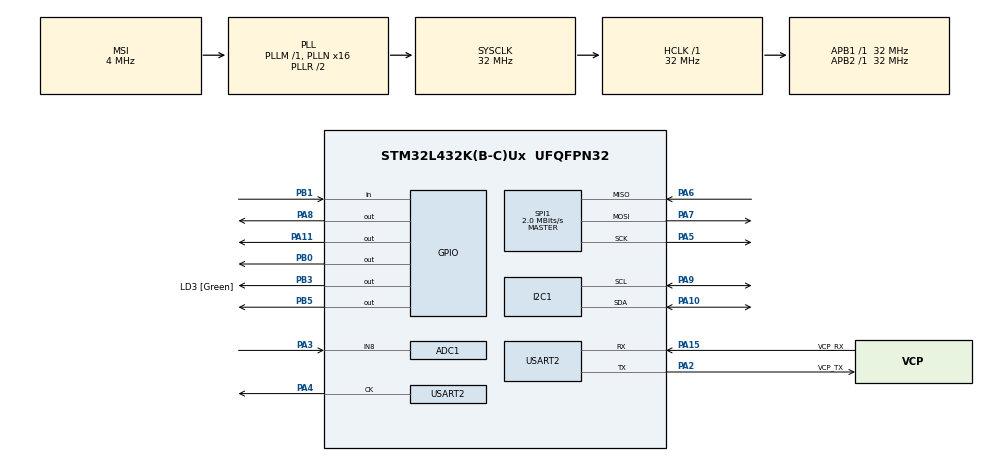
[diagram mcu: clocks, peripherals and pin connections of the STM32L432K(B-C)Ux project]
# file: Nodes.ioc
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ADC1.Channel-0\#ChannelRegularConversion=ADC_CHANNEL_8
ADC1.NbrOfConversionFlag=1
ADC1.OffsetNumber-0\#ChannelRegularConversion=ADC_OFFSET_NONE
ADC1.Rank-0\#ChannelRegularConversion=1
ADC1.SamplingTime-0\#ChannelRegularConversion=ADC_SAMPLETIME_2CYCLES_5
ADC1.master=1
I2C1.Timing=0x00707CBB
Mcu.Family=STM32L4
Mcu.Name=STM32L432K(B-C)Ux
Mcu.Package=UFQFPN32
NVIC.ADC1_IRQn=true\:0\:0\:false\:false\:true\:true\:true\:true
NVIC.I2C1_EV_IRQn=true\:0\:0\:false\:false\:true\:true\:true\:true
NVIC.PriorityGroup=NVIC_PRIORITYGROUP_4
NVIC.SPI1_IRQn=true\:0\:0\:false\:false\:true\:true\:true\:true
NVIC.USART2_IRQn=true\:0\:0\:false\:false\:true\:true\:true\:true
PA0.GPIO_Label=MCO [High speed clock in]
PA0.Mode=HSE-External-Clock-Source-for-LittleOrca
PA0.Signal=RCC_CK_IN
PA10.Mode=I2C
PA10.Signal=I2C1_SDA
PA11.Signal=GPIO_Output
PA13\ (JTMS-SWDIO).GPIO_Label=SWDIO
PA13\ (JTMS-SWDIO).Mode=Serial_Wire
PA13\ (JTMS-SWDIO).Signal=SYS_JTMS-SWDIO
PA14\ (JTCK-SWCLK).GPIO_Label=SWCLK
PA14\ (JTCK-SWCLK).Mode=Serial_Wire
PA14\ (JTCK-SWCLK).Signal=SYS_JTCK-SWCLK
PA15\ (JTDI).GPIO_Label=VCP_RX
PA15\ (JTDI).Mode=Synchronous
PA15\ (JTDI).Signal=USART2_RX
PA2.GPIO_Label=VCP_TX
PA2.Mode=Synchronous
PA2.Signal=USART2_TX
PA3.Signal=ADCx_IN8
PA4.Mode=Synchronous
PA4.Signal=USART2_CK
PA5.Mode=Full_Duplex_Master
PA5.Signal=SPI1_SCK
PA6.Mode=Full_Duplex_Master
PA6.Signal=SPI1_MISO
PA7.Mode=Full_Duplex_Master
PA7.Signal=SPI1_MOSI
PA8.Signal=GPIO_Output
PA9.Mode=I2C
PA9.Signal=I2C1_SCL
PB0.PinState=GPIO_PIN_SET
PB0.Signal=GPIO_Output
PB1.Signal=GPIO_Input
PB3\ (JTDO-TRACESWO).GPIO_Label=LD3 [Green]
PB3\ (JTDO-TRACESWO).Signal=GPIO_Output
PB5.Signal=GPIO_Output
PC14-OSC32_IN\ (PC14).Mode=LSE-External-Oscillator
PC14-OSC32_IN\ (PC14).Signal=RCC_OSC32_IN
PC15-OSC32_OUT\ (PC15).Mode=LSE-External-Oscillator
PC15-OSC32_OUT\ (PC15).Signal=RCC_OSC32_OUT
ProjectManager.HeapSize=0x200
ProjectManager.StackSize=0x400
ProjectManager.TargetToolchain=STM32CubeIDE
RCC.AHBFreq_Value=32000000
RCC.APB1Freq_Value=32000000
RCC.APB1TimFreq_Value=32000000
RCC.APB2Freq_Value=32000000
RCC.APB2TimFreq_Value=32000000
RCC.CortexFreq_Value=32000000
RCC.HCLKFreq_Value=32000000
RCC.HSE_VALUE=8000000
RCC.HSI16_VALUE=16000000
RCC.HSI48_VALUE=48000000
RCC.HSI_VALUE=16000000
RCC.MSI_VALUE=4000000
RCC.PLLMUL=RCC_PLLMUL_4
RCC.PLLN=16
RCC.SYSCLKFreq_VALUE=32000000
RCC.SYSCLKSource=RCC_SYSCLKSOURCE_PLLCLK
RCC.VCOOutputFreq_Value=64000000
SH.ADCx_IN8.0=ADC1_IN8,IN8-Single-Ended
SPI1.BaudRatePrescaler=SPI_BAUDRATEPRESCALER_16
SPI1.CalculateBaudRate=2.0 MBits/s
SPI1.DataSize=SPI_DATASIZE_8BIT
SPI1.Direction=SPI_DIRECTION_2LINES
SPI1.Mode=SPI_MODE_MASTER
SPI1.VirtualType=VM_MASTER
USART2.VirtualMode-Synchronous=VM_SYNC
board=NUCLEO-L432KC

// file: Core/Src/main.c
/* USER CODE BEGIN Header */
/**
  ******************************************************************************
  * @file           : main.c
  * @brief          : Main program body
  *
  * Author: Salman Shuaib
  *
  * Description:
  * This file contains the main program body for a LoRa-enabled environmental
  * monitoring system using BME680 sensor and an MQ3 gas sensor.
  * The program periodically reads environmental data from the sensor,
  * converts it to the appropriate units, and sends the data via LoRa communication.
  * This also implements mesh networking, in which each sensor node can both transmit
  * and receive data. Transmission of data is of the highest priority.
  ******************************************************************************
  * @attention
  *
  * Copyright (c) 2024 STMicroelectronics.
  * All rights reserved.
  *
  * This software is licensed under terms that can be found in the LICENSE file
  * in the root directory of this software component.
  * If no LICENSE file comes with this software, it is provided AS-IS.
  *
  ******************************************************************************
  */
/* USER CODE END Header */
#include "main.h"

/* USER CODE BEGIN Includes */
#include <bme680.h>
#include <stdio.h>
#include <string.h>
#include <stdlib.h>
#include <math.h>
#include "lora_sx1276.h"
#include "power.h"
#include "packets.h"

/* USER CODE END Includes */

/* USER CODE BEGIN PD */
#define DELAY_PERIOD_MS		2000

// Uncomment to assign an address to a node.
//#define ADDRESS				0x02
//#define ADDRESS				0x03
//#define ADDRESS				0x04

/* USER CODE END PD */

ADC_HandleTypeDef hadc1;

I2C_HandleTypeDef hi2c1;

SPI_HandleTypeDef hspi1;

USART_HandleTypeDef husart2;

/* USER CODE BEGIN PV */
struct bme680_dev gas_sensor;
char i2c_reading_buf[100];
char msg[50];
char send_pkt[100];
uint8_t res;
int8_t rslt = BME680_OK;
uint16_t adcVal;
uint16_t ppm;
uint8_t rx_buffer[32];
uint8_t tx_buffer[4];
lora_sx1276 lora;

/* USER CODE END PV */

void SystemClock_Config(void);
static void MX_GPIO_Init(void);
static void MX_USART2_Init(void);
static void MX_ADC1_Init(void);
static void MX_I2C1_Init(void);
static void MX_SPI1_Init(void);

/* USER CODE BEGIN PFP */
// BME680 Forward Declarations
int8_t bme680I2cRead(uint8_t dev_id, uint8_t reg_addr, uint8_t *reg_data, uint16_t len);
int8_t bme680I2cWrite(uint8_t dev_id, uint8_t reg_addr, uint8_t *reg_data, uint16_t len);

/* USER CODE END PFP */

int main(void)
{

  /* MCU Configuration--------------------------------------------------------*/

  /* Reset of all peripherals, Initializes the Flash interface and the Systick. */
  HAL_Init();

  /* Configure the system clock */
  SystemClock_Config();

  /* Initialize all configured peripherals */
  MX_GPIO_Init();
  MX_USART2_Init();
  MX_ADC1_Init();
  MX_I2C1_Init();
  MX_SPI1_Init();
  /* USER CODE BEGIN 2 */

  // Reset LoRa Module
  HAL_GPIO_WritePin(GPIOB, GPIO_PIN_5, GPIO_PIN_RESET);
  HAL_Delay(10);
  HAL_GPIO_WritePin(GPIOB, GPIO_PIN_5, GPIO_PIN_SET);
  HAL_Delay(100);

  // Initialize LoRa
  uint8_t init = lora_init(&lora, &hspi1, GPIOB, GPIO_PIN_0, LORA_BASE_FREQUENCY_US);
  if (init != LORA_OK)
  {} // Initialization failed
  else
  {
	  HAL_GPIO_WritePin(GPIOB, LD3_Pin, GPIO_PIN_SET);
  }

  // Configure the BME680 driver
  gas_sensor.dev_id = BME680_I2C_ADDR_SECONDARY;
  gas_sensor.intf = BME680_I2C_INTF;
  gas_sensor.read = bme680I2cRead;
  gas_sensor.write = bme680I2cWrite;
  gas_sensor.delay_ms = HAL_Delay;
  gas_sensor.amb_temp = 25;

  // Initialize the driver
  if (bme680_init(&gas_sensor) != BME680_OK)
  {
     char bme_msg[] = "BME680 Initialization Error\r\n";
     HAL_USART_Transmit(&husart2,(uint8_t *)bme_msg,strlen(bme_msg), 100);
   }
  else
  {
     char bme_msg[] = "BME680 Initialized and Ready\r\n";
     HAL_USART_Transmit(&husart2,(uint8_t *)bme_msg,strlen(bme_msg), 100);
   }

   // Select desired oversampling rates
  gas_sensor.tph_sett.os_hum = BME680_OS_2X;
  gas_sensor.tph_sett.os_pres = BME680_OS_4X;
  gas_sensor.tph_sett.os_temp = BME680_OS_8X;

   // Set sensor to "always on"
  gas_sensor.power_mode = BME680_FORCED_MODE;

  // Set oversampling settings
  uint8_t required_settings = (BME680_OST_SEL | BME680_OSP_SEL | BME680_OSH_SEL);
  rslt = bme680_set_sensor_settings(required_settings, &gas_sensor);

  // Set sensor mode
  rslt = bme680_set_sensor_mode(&gas_sensor);

  // Query minimum sampling period
  uint16_t min_sampling_period;
  bme680_get_profile_dur(&min_sampling_period, &gas_sensor);

  // Sampling results variable
  struct bme680_field_data data;

  /* USER CODE END 2 */

  /* Infinite loop */
  /* USER CODE BEGIN WHILE */
  while (1)
  {
	  // Set TPL done pin low to supply power to circuit
	  set_done_low();

	  // Set destination address; gateway
	  tx_buffer[0] = 0x01;

	  // Allow BME680 to sample environment
	  HAL_Delay(min_sampling_period);

	  // Query the sample data
	  rslt = bme680_get_sensor_data(&data, &gas_sensor);

	  float temp_val = data.temperature / 100.0f;
	  tx_buffer[3] = (uint8_t)temp_val;	// Convert value to uint8_t for LoRa transmission

	  float rh_val = data.humidity / 1000.0f;
	  tx_buffer[1] = (uint8_t)rh_val;	 // Convert value to uint8_t for LoRa transmission

	  // ADC conversion for MQ3 gas sensor
	  //Set GPIO Pin high
	  HAL_GPIO_WritePin(GPIOA, GPIO_PIN_11, GPIO_PIN_SET);

	  //Get ADC value
	  HAL_ADC_Start(&hadc1);
	  HAL_ADC_PollForConversion(&hadc1, HAL_MAX_DELAY);
	  float analogVal = 0;
	  for (int i = 0; i < 10; i++)
	  {
		  analogVal += HAL_ADC_GetValue(&hadc1);
		  HAL_Delay(10);
	  }

	  // Convert ADC value to ppm
	  // As per datasheet and calibration settings
	  analogVal = analogVal/10.0;
	  float value = analogVal / (5.0*1024.0);
	  float rs_gas = (5.0 - value) / value;
	  float r0 = 7.0944;
	  float ratio = rs_gas / r0;
	  float mgL = (-8.414*log(ratio)) + 31.926;
	  float ppm = ((mgL * 1000 * 24.5) / 28.01) * 0.01;
	  ppm = ppm/10.0;

	  uint8_t smoke_val = (uint8_t) ppm;	// Convert value to uint8_t for LoRa transmission
	  tx_buffer[2] = smoke_val;

	  //Set GPIO Pin low
	  HAL_GPIO_WritePin(GPIOA, GPIO_PIN_11, GPIO_PIN_RESET);

	  // Send data via LoRa
	  send_packet(&lora, tx_buffer, 4);

	  // Switch to receive mode
	  if (HAL_GPIO_ReadPin(GPIOB, GPIO_PIN_1) == 0x01)
	  {
		  lora_clear_interrupt_tx_done(&lora);
		  HAL_Delay(5000);
		  lora_mode_receive_continuous(&lora);
	  }

	  lora_mode_receive_continuous(&lora);
	  uint8_t len = lora_receive_packet_blocking(&lora, rx_buffer, sizeof(rx_buffer), 10000, &res);
	  if (res != LORA_OK)
	  {}
	  rx_buffer[len] = 0;  // null terminate string to print it
	  if (len > 0)
	  {
		  Handle received packet
		  handle_received_packet(&lora, rx_buffer, len, ADDRESS);
	  }

	  HAL_Delay(DELAY_PERIOD_MS);

	  // Request the next sample
	  if (gas_sensor.power_mode == BME680_FORCED_MODE)
	  {
		  rslt = bme680_set_sensor_mode(&gas_sensor);
	  }

	  HAL_Delay(10000);

	  // Indicate tasks are done and cut off power to circuit
	  set_done_high();

	  HAL_Delay(100);

    /* USER CODE END WHILE */

  }
}

void SystemClock_Config(void)
{
  RCC_OscInitTypeDef RCC_OscInitStruct = {0};
  RCC_ClkInitTypeDef RCC_ClkInitStruct = {0};

  /** Configure the main internal regulator output voltage
  */
  if (HAL_PWREx_ControlVoltageScaling(PWR_REGULATOR_VOLTAGE_SCALE1) != HAL_OK)
  {
    Error_Handler();
  }

  /** Configure LSE Drive Capability
  */
  HAL_PWR_EnableBkUpAccess();
  __HAL_RCC_LSEDRIVE_CONFIG(RCC_LSEDRIVE_LOW);

  /** Initializes the RCC Oscillators according to the specified parameters
  * in the RCC_OscInitTypeDef structure.
  */
  RCC_OscInitStruct.OscillatorType = RCC_OSCILLATORTYPE_LSE|RCC_OSCILLATORTYPE_MSI;
  RCC_OscInitStruct.LSEState = RCC_LSE_ON;
  RCC_OscInitStruct.MSIState = RCC_MSI_ON;
  RCC_OscInitStruct.MSICalibrationValue = 0;
  RCC_OscInitStruct.MSIClockRange = RCC_MSIRANGE_6;
  RCC_OscInitStruct.PLL.PLLState = RCC_PLL_ON;
  RCC_OscInitStruct.PLL.PLLSource = RCC_PLLSOURCE_MSI;
  RCC_OscInitStruct.PLL.PLLM = 1;
  RCC_OscInitStruct.PLL.PLLN = 16;
  RCC_OscInitStruct.PLL.PLLP = RCC_PLLP_DIV7;
  RCC_OscInitStruct.PLL.PLLQ = RCC_PLLQ_DIV2;
  RCC_OscInitStruct.PLL.PLLR = RCC_PLLR_DIV2;
  if (HAL_RCC_OscConfig(&RCC_OscInitStruct) != HAL_OK)
  {
    Error_Handler();
  }

  /** Initializes the CPU, AHB and APB buses clocks
  */
  RCC_ClkInitStruct.ClockType = RCC_CLOCKTYPE_HCLK|RCC_CLOCKTYPE_SYSCLK
                              |RCC_CLOCKTYPE_PCLK1|RCC_CLOCKTYPE_PCLK2;
  RCC_ClkInitStruct.SYSCLKSource = RCC_SYSCLKSOURCE_PLLCLK;
  RCC_ClkInitStruct.AHBCLKDivider = RCC_SYSCLK_DIV1;
  RCC_ClkInitStruct.APB1CLKDivider = RCC_HCLK_DIV1;
  RCC_ClkInitStruct.APB2CLKDivider = RCC_HCLK_DIV1;

  if (HAL_RCC_ClockConfig(&RCC_ClkInitStruct, FLASH_LATENCY_1) != HAL_OK)
  {
    Error_Handler();
  }

  /** Enable MSI Auto calibration
  */
  HAL_RCCEx_EnableMSIPLLMode();
}

static void MX_ADC1_Init(void)
{

  ADC_ChannelConfTypeDef sConfig = {0};

  /** Common config
  */
  hadc1.Instance = ADC1;
  hadc1.Init.ClockPrescaler = ADC_CLOCK_ASYNC_DIV1;
  hadc1.Init.Resolution = ADC_RESOLUTION_12B;
  hadc1.Init.DataAlign = ADC_DATAALIGN_RIGHT;
  hadc1.Init.ScanConvMode = ADC_SCAN_DISABLE;
  hadc1.Init.EOCSelection = ADC_EOC_SINGLE_CONV;
  hadc1.Init.LowPowerAutoWait = DISABLE;
  hadc1.Init.ContinuousConvMode = DISABLE;
  hadc1.Init.NbrOfConversion = 1;
  hadc1.Init.DiscontinuousConvMode = DISABLE;
  hadc1.Init.ExternalTrigConv = ADC_SOFTWARE_START;
  hadc1.Init.ExternalTrigConvEdge = ADC_EXTERNALTRIGCONVEDGE_NONE;
  hadc1.Init.DMAContinuousRequests = DISABLE;
  hadc1.Init.Overrun = ADC_OVR_DATA_PRESERVED;
  hadc1.Init.OversamplingMode = DISABLE;
  if (HAL_ADC_Init(&hadc1) != HAL_OK)
  {
    Error_Handler();
  }

  /** Configure Regular Channel
  */
  sConfig.Channel = ADC_CHANNEL_8;
  sConfig.Rank = ADC_REGULAR_RANK_1;
  sConfig.SamplingTime = ADC_SAMPLETIME_2CYCLES_5;
  sConfig.SingleDiff = ADC_SINGLE_ENDED;
  sConfig.OffsetNumber = ADC_OFFSET_NONE;
  sConfig.Offset = 0;
  if (HAL_ADC_ConfigChannel(&hadc1, &sConfig) != HAL_OK)
  {
    Error_Handler();
  }

}

static void MX_I2C1_Init(void)
{

  hi2c1.Instance = I2C1;
  hi2c1.Init.Timing = 0x00707CBB;
  hi2c1.Init.OwnAddress1 = 0;
  hi2c1.Init.AddressingMode = I2C_ADDRESSINGMODE_7BIT;
  hi2c1.Init.DualAddressMode = I2C_DUALADDRESS_DISABLE;
  hi2c1.Init.OwnAddress2 = 0;
  hi2c1.Init.OwnAddress2Masks = I2C_OA2_NOMASK;
  hi2c1.Init.GeneralCallMode = I2C_GENERALCALL_DISABLE;
  hi2c1.Init.NoStretchMode = I2C_NOSTRETCH_DISABLE;
  if (HAL_I2C_Init(&hi2c1) != HAL_OK)
  {
    Error_Handler();
  }

  /** Configure Analogue filter
  */
  if (HAL_I2CEx_ConfigAnalogFilter(&hi2c1, I2C_ANALOGFILTER_ENABLE) != HAL_OK)
  {
    Error_Handler();
  }

  /** Configure Digital filter
  */
  if (HAL_I2CEx_ConfigDigitalFilter(&hi2c1, 0) != HAL_OK)
  {
    Error_Handler();
  }

}

static void MX_SPI1_Init(void)
{

  /* SPI1 parameter configuration*/
  hspi1.Instance = SPI1;
  hspi1.Init.Mode = SPI_MODE_MASTER;
  hspi1.Init.Direction = SPI_DIRECTION_2LINES;
  hspi1.Init.DataSize = SPI_DATASIZE_8BIT;
  hspi1.Init.CLKPolarity = SPI_POLARITY_LOW;
  hspi1.Init.CLKPhase = SPI_PHASE_1EDGE;
  hspi1.Init.NSS = SPI_NSS_SOFT;
  hspi1.Init.BaudRatePrescaler = SPI_BAUDRATEPRESCALER_16;
  hspi1.Init.FirstBit = SPI_FIRSTBIT_MSB;
  hspi1.Init.TIMode = SPI_TIMODE_DISABLE;
  hspi1.Init.CRCCalculation = SPI_CRCCALCULATION_DISABLE;
  hspi1.Init.CRCPolynomial = 7;
  hspi1.Init.CRCLength = SPI_CRC_LENGTH_DATASIZE;
  hspi1.Init.NSSPMode = SPI_NSS_PULSE_ENABLE;
  if (HAL_SPI_Init(&hspi1) != HAL_OK)
  {
    Error_Handler();
  }

}

static void MX_USART2_Init(void)
{

  husart2.Instance = USART2;
  husart2.Init.BaudRate = 115200;
  husart2.Init.WordLength = USART_WORDLENGTH_8B;
  husart2.Init.StopBits = USART_STOPBITS_1;
  husart2.Init.Parity = USART_PARITY_NONE;
  husart2.Init.Mode = USART_MODE_TX_RX;
  husart2.Init.CLKPolarity = USART_POLARITY_LOW;
  husart2.Init.CLKPhase = USART_PHASE_1EDGE;
  husart2.Init.CLKLastBit = USART_LASTBIT_DISABLE;
  if (HAL_USART_Init(&husart2) != HAL_OK)
  {
    Error_Handler();
  }

}

static void MX_GPIO_Init(void)
{
  GPIO_InitTypeDef GPIO_InitStruct = {0};

  /* GPIO Ports Clock Enable */
  __HAL_RCC_GPIOC_CLK_ENABLE();
  __HAL_RCC_GPIOA_CLK_ENABLE();
  __HAL_RCC_GPIOB_CLK_ENABLE();

  /*Configure GPIO pin Output Level */
  HAL_GPIO_WritePin(GPIOB, GPIO_PIN_0, GPIO_PIN_SET);

  /*Configure GPIO pin Output Level */
  HAL_GPIO_WritePin(GPIOA, GPIO_PIN_8|GPIO_PIN_11, GPIO_PIN_RESET);

  /*Configure GPIO pin Output Level */
  HAL_GPIO_WritePin(GPIOB, LD3_Pin|GPIO_PIN_5, GPIO_PIN_RESET);

  /*Configure GPIO pins : PB0 LD3_Pin PB5 */
  GPIO_InitStruct.Pin = GPIO_PIN_0|LD3_Pin|GPIO_PIN_5;
  GPIO_InitStruct.Mode = GPIO_MODE_OUTPUT_PP;
  GPIO_InitStruct.Pull = GPIO_NOPULL;
  GPIO_InitStruct.Speed = GPIO_SPEED_FREQ_LOW;
  HAL_GPIO_Init(GPIOB, &GPIO_InitStruct);

  /*Configure GPIO pin : PB1 */
  GPIO_InitStruct.Pin = GPIO_PIN_1;
  GPIO_InitStruct.Mode = GPIO_MODE_INPUT;
  GPIO_InitStruct.Pull = GPIO_NOPULL;
  HAL_GPIO_Init(GPIOB, &GPIO_InitStruct);

  /*Configure GPIO pins : PA8 PA11 */
  GPIO_InitStruct.Pin = GPIO_PIN_8|GPIO_PIN_11;
  GPIO_InitStruct.Mode = GPIO_MODE_OUTPUT_PP;
  GPIO_InitStruct.Pull = GPIO_NOPULL;
  GPIO_InitStruct.Speed = GPIO_SPEED_FREQ_LOW;
  HAL_GPIO_Init(GPIOA, &GPIO_InitStruct);

}

/* USER CODE BEGIN 4 */

/**
 * Read data from BME680 sensor via I2C communication
 *
 * Parameters:
 * dev_id: BME680 device ID
 * reg_addr: Register address to read from
 * reg_data: Pointer to store the read data
 * len: Length of data to read
 *
 * Returns:
 * Status of the read operation, 0 for success, -1 for failure
 */

int8_t bme680I2cRead(uint8_t dev_id, uint8_t reg_addr, uint8_t *reg_data, uint16_t len) {
  int8_t result;
  static const size_t I2C_READ_TIMEOUT = 250;

  if (HAL_I2C_Master_Transmit(&hi2c1, (dev_id << 1), &reg_addr, 1, I2C_READ_TIMEOUT) != HAL_OK) {
    result = -1;
  } else if (HAL_I2C_Master_Receive (&hi2c1, (dev_id << 1) | 0x01, reg_data, len, I2C_READ_TIMEOUT) != HAL_OK) {
    result = -1;
  } else {
    result = 0;
  }

  return result;
}

/**
 * Write data to BME680 sensor via I2C communication
 *
 * Parameters:
 * dev_id: BME680 device ID
 * reg_addr: Register address to write to
 * reg_data: Pointer to the data to be written
 * len: Length of data to write
 *
 * Returns:
 * int8_t: Status of the write operation, 0 for success, -1 for failure
 */
int8_t bme680I2cWrite(uint8_t dev_id, uint8_t reg_addr, uint8_t *reg_data, uint16_t len) {
  int8_t result;
  int8_t *buf;

  // Allocate and load I2C transmit buffer
  buf = malloc(len + 1);
  buf[0] = reg_addr;
  memcpy(buf + 1, reg_data, len);

  if (HAL_I2C_Master_Transmit(&hi2c1, (dev_id << 1), (uint8_t *) buf, len + 1, HAL_MAX_DELAY) != HAL_OK) {
    result = -1;
  } else {
    result = 0;
  }

  free(buf);
  return result;
}

/* USER CODE END 4 */

void Error_Handler(void)
{
  __disable_irq();
  while (1)
  {
  }
}
